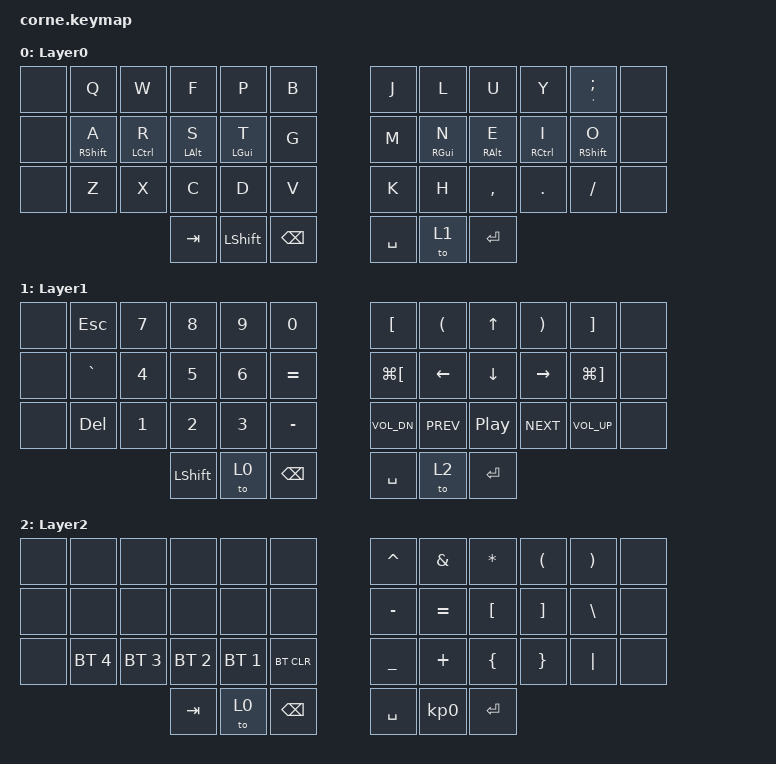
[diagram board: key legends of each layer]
/*
 * Copyright (c) 2020 The ZMK Contributors
 *
 * SPDX-License-Identifier: MIT
 */

#include <behaviors.dtsi>
#include <dt-bindings/zmk/bt.h>
#include <dt-bindings/zmk/keys.h>

/ {
    behaviors {
        hml: hml {
            compatible = "zmk,behavior-hold-tap";
            label = "HML";
            bindings = <&kp>, <&kp>;

            #binding-cells = <2>;
            tapping-term-ms = <200>;
            flavor = "tap-preferred";
            hold-trigger-key-positions = <0 1 2 3 4 5 12 13 14 15 16 17 24 25 26 27 28 29 36 37 38>;
        };

        hmr: hmr {
            compatible = "zmk,behavior-hold-tap";
            label = "HMR";
            bindings = <&kp>, <&kp>;

            #binding-cells = <2>;
            tapping-term-ms = <200>;
            hold-trigger-key-positions = <6 7 8 9 10 11 18 19 20 21 22 23 30 31 32 33 34 35 39 40 41>;
            flavor = "tap-preferred";
        };
    };

    keymap {
        compatible = "zmk,keymap";

        Layer0 {
            // -----------------------------------------------------------------------------------------
            // |  TAB |  Q  |  W  |  E  |  R  |  T  |   |  Y  |  U   |  I  |  O  |  P  | BKSP |
            // | CTRL |  A  |  S  |  D  |  F  |  G  |   |  H  |  J   |  K  |  L  |  ;  |  '   |
            // | SHFT |  Z  |  X  |  C  |  V  |  B  |   |  N  |  M   |  ,  |  .  |  /  | ESC  |
            //                    | GUI | LWR | SPC |   | ENT | RSE  | ALT |

            bindings = <
&none  &kp Q               &kp W         &kp F            &kp P        &kp B            &kp J      &kp L             &kp U             &kp Y         &mt APOS SEMICOLON  &none
&none  &hml RIGHT_SHIFT A  &hml LCTRL R  &hml LEFT_ALT S  &hml LGUI T  &kp G            &kp M      &hmr RIGHT_GUI N  &hmr RIGHT_ALT E  &hmr RCTRL I  &hmr RSHFT O        &none
&none  &kp Z               &kp X         &kp C            &kp D        &kp V            &kp K      &kp H             &kp COMMA         &kp DOT       &kp FSLH            &none
                                         &kp TAB          &kp LSHFT    &kp BACKSPACE    &kp SPACE  &to 1             &kp RET
            >;
        };

        Layer1 {
            // -----------------------------------------------------------------------------------------
            // |  TAB |  1  |  2  |  3  |  4  |  5  |   |  6  |  7  |  8  |  9  |  0  | BKSP |
            // | BTCLR| BT1 | BT2 | BT3 | BT4 | BT5 |   | LFT | DWN |  UP | RGT |     |      |
            // | SHFT |     |     |     |     |     |   |     |     |     |     |     |      |
            //                    | GUI |     | SPC |   | ENT |     | ALT |

            bindings = <
&none  &kp ESCAPE  &kp N7        &kp N8        &kp N9        &kp N0           &kp LEFT_BRACKET      &kp LEFT_PARENTHESIS  &kp UP_ARROW      &kp RIGHT_PARENTHESIS  &kp RIGHT_BRACKET      &none
&none  &kp GRAVE   &kp NUMBER_4  &kp N5        &kp NUMBER_6  &kp EQUAL        &kp LG(LEFT_BRACKET)  &kp LEFT              &kp DOWN          &kp RIGHT              &kp LG(RIGHT_BRACKET)  &none
&none  &kp DELETE  &kp NUMBER_1  &kp NUMBER_2  &kp NUMBER_3  &kp MINUS        &kp C_VOL_DN          &kp C_PREV            &kp C_PLAY_PAUSE  &kp C_NEXT             &kp C_VOL_UP           &none
                                 &kp LSHIFT    &to 0         &kp BACKSPACE    &kp SPACE             &to 2                 &kp RET
            >;
        };

        Layer2 {
            // -----------------------------------------------------------------------------------------
            // |  TAB |  !  |  @  |  #  |  $  |  %  |   |  ^  |  &  |  *  |  (  |  )  | BKSP |
            // | CTRL |     |     |     |     |     |   |  -  |  =  |  [  |  ]  |  \  |  `   |
            // | SHFT |     |     |     |     |     |   |  _  |  +  |  {  |  }  | "|" |  ~   |
            //                    | GUI |     | SPC |   | ENT |     | ALT |

            bindings = <
&none  &none         &none         &none         &none         &none            &kp CARET  &kp AMPS         &kp ASTERISK  &kp LPAR  &kp RPAR  &none
&none  &none         &none         &none         &none         &none            &kp MINUS  &kp EQUAL        &kp LBKT      &kp RBKT  &kp BSLH  &none
&none  &bt BT_SEL 4  &bt BT_SEL 3  &bt BT_SEL 2  &bt BT_SEL 1  &bt BT_CLR       &kp UNDER  &kp PLUS         &kp LBRC      &kp RBRC  &kp PIPE  &none
                                   &kp TAB       &to 0         &kp BACKSPACE    &kp SPACE  &kp KP_NUMBER_0  &kp RET
            >;
        };
    };
};
